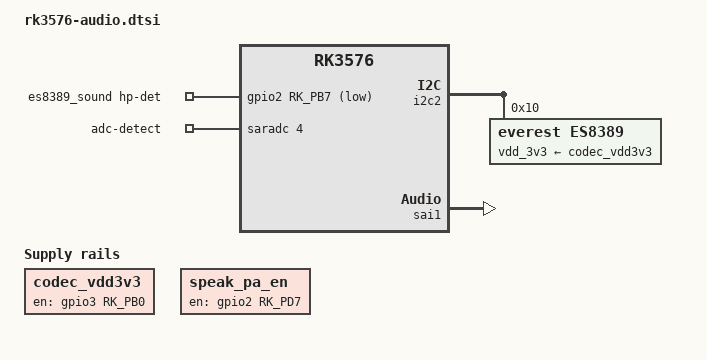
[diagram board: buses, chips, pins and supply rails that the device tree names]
/{
    es8389_sound: es8389-sound {
		status = "okay";
		compatible = "rockchip,multicodecs-card";
		rockchip,card-name = "rockchip-es8389";

		hp-det-gpio = <&gpio2 RK_PB7 GPIO_ACTIVE_LOW>;
		io-channels = <&saradc 3>;
		io-channel-names = "adc-detect";
		keyup-threshold-microvolt = <1800000>;
		poll-interval = <100>;
		//spk-con-gpio = <&gpio2 RK_PD7 GPIO_ACTIVE_HIGH>;
		//hp-con-gpio = <&gpio3 RK_PD6 GPIO_ACTIVE_HIGH>;
		rockchip,pre-power-on-delay-ms = <30>;
		rockchip,post-power-down-delay-ms = <40>;
		rockchip,format = "i2s";
		rockchip,mclk-fs = <256>;
		rockchip,cpu = <&sai1>;
		rockchip,codec = <&es8389>;
		pinctrl-names = "default";
		pinctrl-0 = <&hp_det>;
		play-pause-key {
			label = "playpause";
			linux,code = <KEY_PLAYPAUSE>;
			press-threshold-microvolt = <2000>;
		};
	};

    pdmics: dummy-codec {
		status = "disabled";
		compatible = "rockchip,dummy-codec";
		#sound-dai-cells = <0>;
	};

	pdm_mic_array: pdm-mic-array {
		status = "disabled";
		compatible = "simple-audio-card";
		simple-audio-card,name = "rockchip,pdm-mic-array";
		simple-audio-card,cpu {
			sound-dai = <&pdm1>;
		};
		simple-audio-card,codec {
			sound-dai = <&pdmics>;
		};
	};

    codec_vdd3v3: codec_vdd3v3 {
		compatible = "regulator-fixed";
		regulator-name = "codec_vdd3v3";
        enable-active-high;
        regulator-always-on;
		pinctrl-names = "default";
		pinctrl-0 = <&codec_vdd3v3_active>;
        gpio = <&gpio3 RK_PB0 GPIO_ACTIVE_HIGH>;
        status = "okay";
	};
    speak_pa_en: speak_pa_en {
		compatible = "regulator-fixed";
		regulator-name = "speak_pa_en";
        enable-active-high;
        regulator-always-on;
		pinctrl-names = "default";
		pinctrl-0 = <&speak_pa_en_active>;
        gpio = <&gpio2 RK_PD7 GPIO_ACTIVE_HIGH>;
        status = "okay";
	};
};

&i2c2 {
	status = "okay";
	es8389: es8389@10 {
		status = "okay";
		#sound-dai-cells = <0>;
		compatible = "everest,es8389";
        vdd_3v3-supply = <&codec_vdd3v3>;
		reg = <0x10>;
		clocks = <&mclkout_sai1>;
		clock-names = "mclk";
		assigned-clocks = <&mclkout_sai1>;
		assigned-clock-rates = <12288000>;
		pinctrl-names = "default";
		pinctrl-0 = <&sai1m0_mclk>;
       
	};
};


&es8389_sound {
	hp-det-gpio = <&gpio2 RK_PB7 GPIO_ACTIVE_LOW>;	
	io-channels = <&saradc 4>;
	io-channel-names = "adc-detect";
	keyup-threshold-microvolt = <595000>;
	poll-interval = <100>;	
    play-pause-key {
            label = "playpause";
            linux,code = <KEY_PLAYPAUSE>;
            press-threshold-microvolt = <33000>;
    };
               
    vol-up-key {
            label = "vol_up";
            linux,code = <KEY_VOLUMEUP>;
            press-threshold-microvolt = <110000>;
    };
     vol-down-key {
             label = "vol_down";
             linux,code = <KEY_VOLUMEDOWN>;
             press-threshold-microvolt = <195000>;
    };	
};

&pinctrl {
	headphone {
		hp_det: hp-det {
			rockchip,pins = <2 RK_PB7 RK_FUNC_GPIO &pcfg_pull_down>;
            //rockchip,pins = <0 RK_PD3 RK_FUNC_GPIO &pcfg_pull_up>;
		};
	};

    codec_vdd3v3 {
        codec_vdd3v3_active: codec_vdd3v3_active {
        rockchip,pins = <3 RK_PB0 RK_FUNC_GPIO &pcfg_pull_up>;
        };
    };
    speak_pa_en {
        speak_pa_en_active: speak_pa_en_active {
        rockchip,pins = <2 RK_PD7 RK_FUNC_GPIO &pcfg_pull_up>;
        };
    };
};

&sai1 {
    status = "okay";
    pinctrl-names = "default";
    rockchip,sai-tx-route = <2 1 0 3>;
    //rockchip,sai-rx-route = <1 2 3 0>;
    pinctrl-0 = <&sai1m0_lrck
             &sai1m0_sclk
             &sai1m0_sdi0
             &sai1m0_sdo2>;
};
